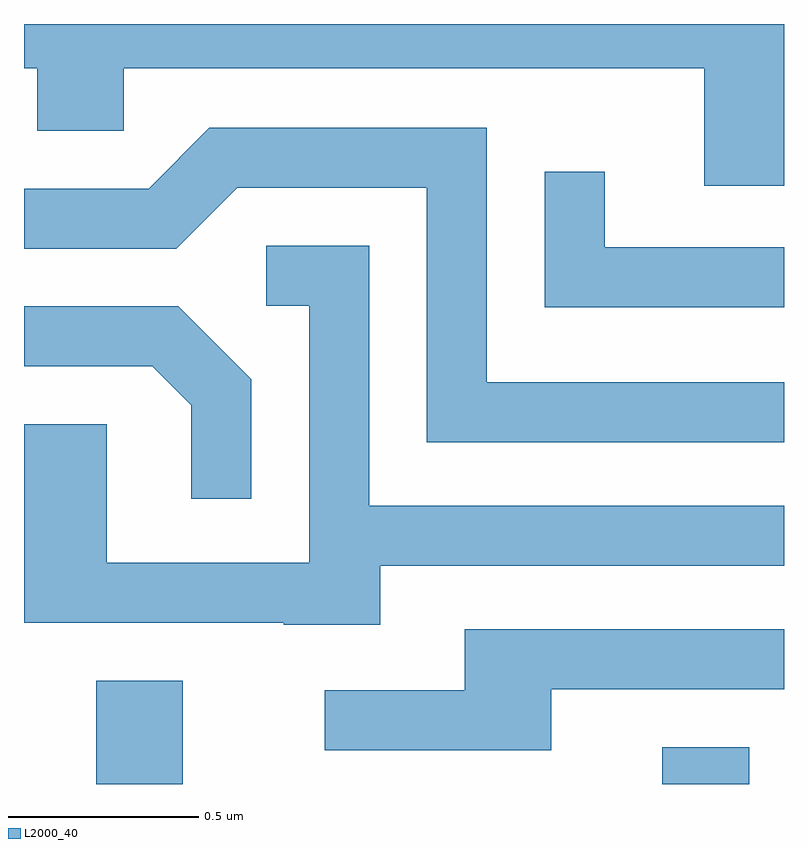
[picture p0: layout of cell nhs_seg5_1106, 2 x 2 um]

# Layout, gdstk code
import gdstk
lib = gdstk.Library(unit=1e-6, precision=1e-09)
def R(c, l, rs):  # rectangles x0, y0, x1, y1
    for r in rs: c.add(gdstk.rectangle(r[:2], r[2:], *l))
def P(c, l, *ps):  # polygons
    for p in ps: c.add(gdstk.Polygon(p, *l))
L2000_40 = (2000, 40)

nhs_seg5_1106 = lib.new_cell('nhs_seg5_1106')
R(nhs_seg5_1106, L2000_40, [(193.801,1406.072,194.029,1406.344), (195.291,1406.072,195.519,1406.169)])
P(nhs_seg5_1106, L2000_40, [(195.611,1408.072),(193.611,1408.072),(193.611,1407.956),(193.646,1407.956),(193.646,1407.791),(193.874,1407.791),(193.874,1407.956),(195.401,1407.956),(195.401,1407.646),(195.611,1407.646)],
  [(195.611,1407.129),(194.829,1407.129),(194.829,1407.799),(194.099,1407.799),(193.939,1407.639),(193.611,1407.639),(193.611,1407.481),(194.012,1407.481),(194.172,1407.641),(194.671,1407.641),(194.671,1406.971),(195.611,1406.971)],
  [(195.611,1407.484),(195.139,1407.484),(195.139,1407.683),(194.981,1407.683),(194.981,1407.326),(195.611,1407.326)],
  [(194.549,1406.646),(195.611,1406.646),(195.611,1406.804),(194.519,1406.804),(194.519,1407.489),(194.248,1407.489),(194.248,1407.331),(194.361,1407.331),(194.361,1406.654),(193.829,1406.654),(193.829,1407.019),(193.611,1407.019),(193.611,1406.496),(194.295,1406.496),(194.295,1406.491),(194.549,1406.491)],
  [(194.209,1407.137),(194.017,1407.329),(193.611,1407.329),(193.611,1407.171),(193.949,1407.171),(194.051,1407.069),(194.051,1406.823),(194.209,1406.823)],
  [(194.999,1406.321),(195.611,1406.321),(195.611,1406.479),(194.771,1406.479),(194.771,1406.319),(194.403,1406.319),(194.403,1406.161),(194.999,1406.161)])

lib.write_gds('nhs_seg5_1106.gds')
